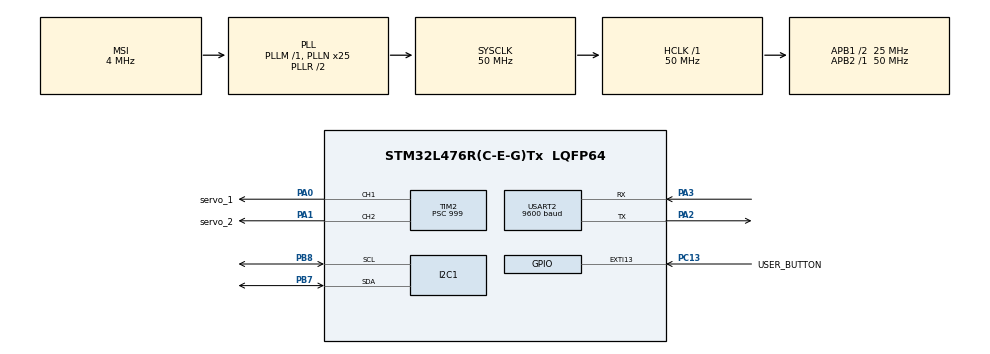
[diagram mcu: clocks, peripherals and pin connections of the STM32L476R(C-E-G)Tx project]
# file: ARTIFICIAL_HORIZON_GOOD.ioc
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I2C1.Timing=0x00606092
Mcu.Family=STM32L4
Mcu.Name=STM32L476R(C-E-G)Tx
Mcu.Package=LQFP64
NVIC.EXTI15_10_IRQn=true\:3\:0\:true\:false\:true\:true\:true\:true
NVIC.PriorityGroup=NVIC_PRIORITYGROUP_4
NVIC.TIM2_IRQn=true\:1\:0\:true\:false\:true\:true\:true\:true
PA0.GPIO_Label=servo_1
PA0.Signal=S_TIM2_CH1
PA1.GPIO_Label=servo_2
PA1.Signal=S_TIM2_CH2
PA13\ (JTMS-SWDIO).Mode=Serial_Wire
PA13\ (JTMS-SWDIO).Signal=SYS_JTMS-SWDIO
PA14\ (JTCK-SWCLK).Mode=Serial_Wire
PA14\ (JTCK-SWCLK).Signal=SYS_JTCK-SWCLK
PA2.Mode=Asynchronous
PA2.Signal=USART2_TX
PA3.Mode=Asynchronous
PA3.Signal=USART2_RX
PB7.Mode=I2C
PB7.Signal=I2C1_SDA
PB8.Mode=I2C
PB8.Signal=I2C1_SCL
PC13.GPIO_Label=USER_BUTTON
PC13.Signal=GPXTI13
PH0-OSC_IN\ (PH0).Mode=HSE-External-Oscillator
PH0-OSC_IN\ (PH0).Signal=RCC_OSC_IN
PH1-OSC_OUT\ (PH1).Mode=HSE-External-Oscillator
PH1-OSC_OUT\ (PH1).Signal=RCC_OSC_OUT
ProjectManager.HeapSize=0x200
ProjectManager.StackSize=0x400
ProjectManager.TargetToolchain=STM32CubeIDE
RCC.ADCFreq_Value=16000000
RCC.AHBFreq_Value=50000000
RCC.APB1CLKDivider=RCC_HCLK_DIV2
RCC.APB1Freq_Value=25000000
RCC.APB1TimFreq_Value=50000000
RCC.APB2Freq_Value=50000000
RCC.APB2TimFreq_Value=50000000
RCC.CortexFreq_Value=50000000
RCC.HCLKFreq_Value=50000000
RCC.HSE_VALUE=8000000
RCC.HSI_VALUE=16000000
RCC.LSE_VALUE=32768
RCC.MSI_VALUE=4000000
RCC.PLLN=25
RCC.SYSCLKFreq_VALUE=50000000
RCC.SYSCLKSource=RCC_SYSCLKSOURCE_PLLCLK
RCC.USBFreq_Value=16000000
RCC.VCOOutputFreq_Value=100000000
SH.S_TIM2_CH1.0=TIM2_CH1,PWM Generation1 CH1
SH.S_TIM2_CH2.0=TIM2_CH2,PWM Generation2 CH2
TIM2.Channel-PWM\ Generation1\ CH1=TIM_CHANNEL_1
TIM2.Channel-PWM\ Generation2\ CH2=TIM_CHANNEL_2
TIM2.Period=1000
TIM2.Prescaler=999
USART2.BaudRate=9600
USART2.VirtualMode-Asynchronous=VM_ASYNC
board=custom

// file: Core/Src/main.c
/* USER CODE BEGIN Header */
/**
  ******************************************************************************
  * @file           : main.c
  * @brief          : Main program body
  ******************************************************************************
  * @attention
  *
  * Copyright (c) 2023 STMicroelectronics.
  * All rights reserved.
  *
  * This software is licensed under terms that can be found in the LICENSE file
  * in the root directory of this software component.
  * If no LICENSE file comes with this software, it is provided AS-IS.
  *
  ******************************************************************************
  */
/* USER CODE END Header */
#include "main.h"
#include "i2c.h"
#include "tim.h"
#include "usart.h"
#include "gpio.h"

/* USER CODE BEGIN Includes */

#include <stdio.h>
#include <string.h>
#include "mpu6050.h"
#include <stdbool.h>
#include <stdlib.h>
#include <przeliczanie.h>

/* USER CODE END Includes */

/* USER CODE BEGIN PV */
MPU6050_t MPU6050;
volatile uint32_t wypracowanySygnalDoSerwomechanizmuKanaluPochylenia = 60;
volatile uint32_t wypracowanySygnalDoSerwomechanizmuKanaluPrzechylenia = 75;

/* USER CODE END PV */

void SystemClock_Config(void);
/* USER CODE BEGIN PFP */

//HAL_TIM_IC_CaptureCallback(htim)

int __io_putchar(int ch)              // Funkcja od obsługi wyświetlania w monitorze portu szeregowego
  	{
  	    HAL_UART_Transmit(&huart2, (uint8_t*)&ch, 1, HAL_MAX_DELAY);
  	    return 1;
  	}

/* USER CODE END PFP */

int main(void)
{

  /* MCU Configuration--------------------------------------------------------*/

  /* Reset of all peripherals, Initializes the Flash interface and the Systick. */
  HAL_Init();

  /* Configure the system clock */
  SystemClock_Config();

  /* Initialize all configured peripherals */
  MX_GPIO_Init();
  MX_USART2_UART_Init();
  MX_I2C1_Init();
  MX_TIM2_Init();
  /* USER CODE BEGIN 2 */

  while (MPU6050_Init(&hi2c1) == 1);
  HAL_TIM_PWM_Start(&htim2, TIM_CHANNEL_1);
  HAL_TIM_PWM_Start(&htim2, TIM_CHANNEL_2);

  for( int i=75;i<125;i++)
 	  	  {
 	  	  	htim2.Instance->CCR1 = i;
 	  	  	HAL_Delay(30);
 	  	  }
  for(int i=125; i>25; i--)
 	  	  {
 	  	  	htim2.Instance->CCR1 = i;
 	  	  	HAL_Delay(30);
 	  	  }
  for( int i=25;i<75;i++)
 	  	  {
 	  	  	htim2.Instance->CCR1 = i;
 	  	  	HAL_Delay(30);
 	  	  }
 	  	HAL_Delay(1000);
  for( int i=62;i<74;i++)
 	  	 {
 	  	 	htim2.Instance->CCR2 = i;
 	  	 	HAL_Delay(80);
 	  	 }
  for(int i=74; i>50; i--)
 	  	 {
 	  	 	htim2.Instance->CCR2 = i;
 	  	 	HAL_Delay(80);
 	  	 }
  for( int i=50;i<62;i++)
 	  	 {
 	  	 	htim2.Instance->CCR2 = i;
 	  	 	HAL_Delay(80);
 	  	 }
 	  	 	HAL_Delay(1000);
  /* USER CODE END 2 */

  /* Infinite loop */
  /* USER CODE BEGIN WHILE */

  while (1)
  {
	  MPU6050_Read_All(&hi2c1, &MPU6050);
	  printf("a%lf\r\n",MPU6050.KalmanAngleX);
	  printf("b%lf\r\n",MPU6050.KalmanAngleY);
	  wypracowanySygnalDoSerwomechanizmuKanaluPrzechylenia = przeliczSygnalZCzujnikaNaMikrosekundy(MPU6050.KalmanAngleX,-90,90,125,25);
	  wypracowanySygnalDoSerwomechanizmuKanaluPochylenia = przeliczSygnalZCzujnikaNaMikrosekundy(MPU6050.KalmanAngleY,-90, 90, 25, 125);
	  htim2.Instance->CCR1 = wypracowanySygnalDoSerwomechanizmuKanaluPrzechylenia;
	  htim2.Instance->CCR2 = sprawdzenieKanaluPochylenia(wypracowanySygnalDoSerwomechanizmuKanaluPochylenia)-13;

    /* USER CODE END WHILE */

  }
}

void SystemClock_Config(void)
{
  RCC_OscInitTypeDef RCC_OscInitStruct = {0};
  RCC_ClkInitTypeDef RCC_ClkInitStruct = {0};

  /** Configure the main internal regulator output voltage
  */
  if (HAL_PWREx_ControlVoltageScaling(PWR_REGULATOR_VOLTAGE_SCALE1) != HAL_OK)
  {
    Error_Handler();
  }

  /** Initializes the RCC Oscillators according to the specified parameters
  * in the RCC_OscInitTypeDef structure.
  */
  RCC_OscInitStruct.OscillatorType = RCC_OSCILLATORTYPE_MSI;
  RCC_OscInitStruct.MSIState = RCC_MSI_ON;
  RCC_OscInitStruct.MSICalibrationValue = 0;
  RCC_OscInitStruct.MSIClockRange = RCC_MSIRANGE_6;
  RCC_OscInitStruct.PLL.PLLState = RCC_PLL_ON;
  RCC_OscInitStruct.PLL.PLLSource = RCC_PLLSOURCE_MSI;
  RCC_OscInitStruct.PLL.PLLM = 1;
  RCC_OscInitStruct.PLL.PLLN = 25;
  RCC_OscInitStruct.PLL.PLLP = RCC_PLLP_DIV7;
  RCC_OscInitStruct.PLL.PLLQ = RCC_PLLQ_DIV2;
  RCC_OscInitStruct.PLL.PLLR = RCC_PLLR_DIV2;
  if (HAL_RCC_OscConfig(&RCC_OscInitStruct) != HAL_OK)
  {
    Error_Handler();
  }

  /** Initializes the CPU, AHB and APB buses clocks
  */
  RCC_ClkInitStruct.ClockType = RCC_CLOCKTYPE_HCLK|RCC_CLOCKTYPE_SYSCLK
                              |RCC_CLOCKTYPE_PCLK1|RCC_CLOCKTYPE_PCLK2;
  RCC_ClkInitStruct.SYSCLKSource = RCC_SYSCLKSOURCE_PLLCLK;
  RCC_ClkInitStruct.AHBCLKDivider = RCC_SYSCLK_DIV1;
  RCC_ClkInitStruct.APB1CLKDivider = RCC_HCLK_DIV2;
  RCC_ClkInitStruct.APB2CLKDivider = RCC_HCLK_DIV1;

  if (HAL_RCC_ClockConfig(&RCC_ClkInitStruct, FLASH_LATENCY_3) != HAL_OK)
  {
    Error_Handler();
  }
}

void Error_Handler(void)
{
  __disable_irq();
  while (1)
  {
  }
}
